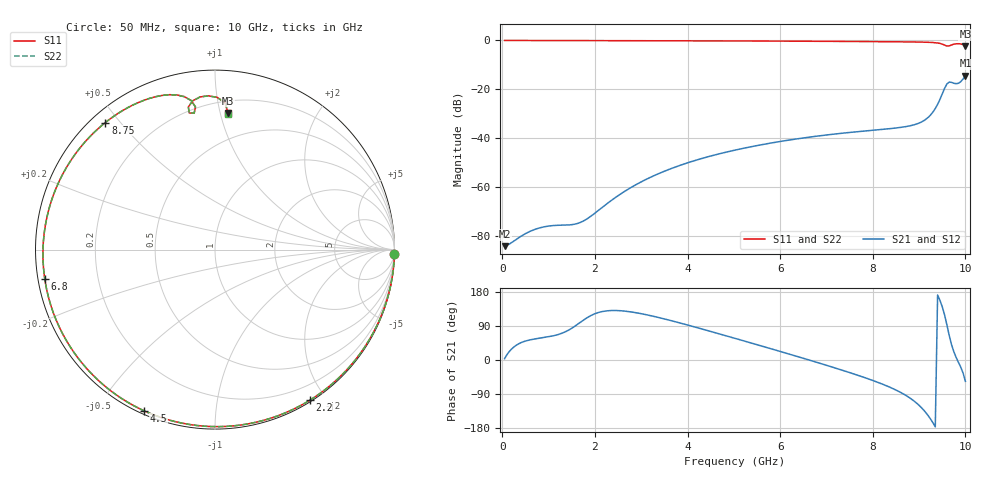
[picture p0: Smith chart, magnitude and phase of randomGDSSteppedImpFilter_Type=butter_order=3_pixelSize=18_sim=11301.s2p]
! freq	dB(S11)	phase(S11)	dB(S12)	phase(S12)
!  dB(S21)	phase(S21)	dB(S22)	phase(S22)
!S-par simulation data
#  GHz  S  DB  R 50
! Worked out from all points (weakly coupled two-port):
!   200 points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, 50 MHz to 10 GHz, reference 50 ohm
!   highest |S21| = -14.37 dB at 10 GHz (marker M1); lowest = -84.2 dB at 50 MHz (marker M2)
!   lowest |S11| = -2.3 dB at 10 GHz (marker M3), VSWR 7.52, Z = 14.4 + j52.8 ohm
!   |S11| at or under -10 dB: nowhere
!   |S22| runs from -2.4 to 0.0 dB; largest |S21 - S12| = 0
!   S11 on the Smith chart (normalised r, x): 50 MHz: 0, -85; 2.2 GHz: 0.02, -1.81; 4.5 GHz: 0.01, -0.65; 6.8 GHz: 0.02, -0.08; 8.75 GHz: 0.04, +0.46; 10 GHz: 0.29, +1.06
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0.05  -0.00 -1.3  -84.17 3.5  -84.17 3.5  -0.00 -1.3
0.4  -0.01 -10.8  -80.16 45.5  -80.16 45.5  -0.01 -10.8
0.85  -0.03 -22.8  -76.47 58.3  -76.47 58.3  -0.03 -22.8
1.75  -0.06 -46.3  -73.88 105.0  -73.88 105.0  -0.06 -46.3
2.2  -0.07 -57.7  -67.68 128.8  -67.68 128.8  -0.07 -57.7
2.75  -0.09 -71.5  -60.49 127.4  -60.49 127.4  -0.09 -71.5
3.4  -0.12 -87.5  -54.30 111.4  -54.30 111.4  -0.12 -87.5
4.5  -0.16 -113.8  -47.29 75.4  -47.29 75.4  -0.16 -113.8
5.05  -0.20 -126.9  -44.76 56.3  -44.76 56.3  -0.20 -126.9
5.9  -0.25 -147.5  -41.65 26.2  -41.65 26.2  -0.25 -147.5
6.7  -0.32 -167.7  -39.38 -2.8  -39.38 -2.8  -0.32 -167.6
6.8  -0.33 -170.3  -39.14 -6.5  -39.14 -6.5  -0.33 -170.3
7.6  -0.42 167.6  -37.46 -37.2  -37.46 -37.2  -0.42 167.7
8.35  -0.51 144.5  -36.13 -70.8  -36.13 -70.8  -0.51 144.6
8.75  -0.58 130.8  -35.13 -96.1  -35.13 -96.1  -0.58 130.8
9.05  -0.67 119.5  -33.37 -125.7  -33.37 -125.7  -0.67 119.5
9.25  -0.79 111.1  -30.45 -156.2  -30.45 -156.2  -0.79 111.1
9.5  -1.50 99.1  -21.91 140.5  -21.91 140.5  -1.50 99.1
9.6  -2.28 98.7  -17.83 93.1  -17.83 93.1  -2.28 98.7
9.65  -2.22 100.6  -17.05 65.2  -17.05 65.2  -2.22 100.7
9.85  -1.33 92.5  -17.51 -6.1  -17.51 -6.1  -1.34 92.4
10  -2.32 84.6  -14.37 -56.3  -14.37 -56.3  -2.37 84.5
